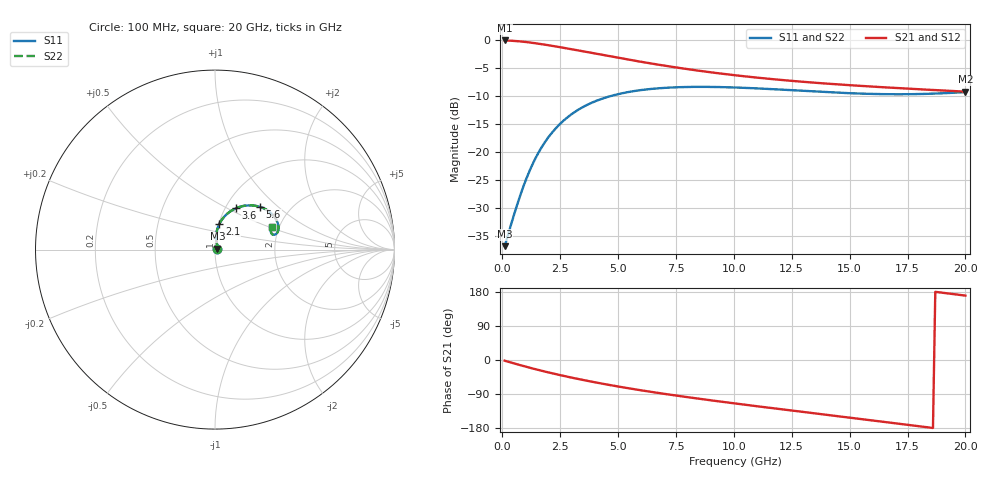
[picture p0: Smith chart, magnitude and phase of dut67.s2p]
! Touchstone file exported from HFSS 2024.1.0
!  File:  C:/UserFiles/LocalFiles/RDL_TSV_Batchsim/temp_RDL_TSV_67_1779410819.aedt
!  Generated:  09:01:20 AM May 22, 2026
!  Design:  RDL_TSV
!  Project:  temp_RDL_TSV_67_1779410819
!  Setup:  Setup1
!  Solution:  Sweep
! Variables:
!  dtsv = 12.66um
!  hbump = 3um
!  htsv = 55.41um
!  ldown = 652.46um
!  lrdl = 234.98um
!  p = 40
!  p1 = 59.5um
!  rhole = 10um
!  subl = 2897.3um
!  t = 450um
!  tdown = 4.91um
!  trdl = 4.82um
!  viad = 10um
!  wdown = 14.52um
!  wrdl = 20.32um
!  xbump = 18um
# GHz S MA R 50.000000
! Terminal data exported
! Port[1] = TM1_1_T1
! Port[2] = TM1_4_T1
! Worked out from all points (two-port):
!   200 points, 100 MHz to 20 GHz, reference 50 ohm
!   highest |S21| = -0.12 dB at 100 MHz (marker M1); lowest = -9.3 dB at 20 GHz (marker M2)
!   |S21| within 3 dB of the highest: start of sweep to 4.889 GHz
!   lowest |S11| = -36.8 dB at 100 MHz (marker M3), VSWR 1.03, Z = 51.4 + j0.517 ohm
!   |S11| at or under -10 dB: start of sweep to 4.719 GHz
!   |S22| runs from -36.8 to -8.4 dB; largest |S21 - S12| = 2e-14
!   S11 on the Smith chart (normalised r, x): 100 MHz: 1.03, +0.01; 2.1 GHz: 1.01, +0.29; 3.6 GHz: 1.12, +0.55; 5.6 GHz: 1.43, +0.77; 20 GHz: 1.84, +0.52
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0.1  0.0144 20.5  0.9861 -1.8  0.9861 -1.8  0.0144 20.5
! Gamma 0 0 0 0
! Port Impedance 50 0 50 0
0.7  0.03675 73.8  0.97 -12.3  0.97 -12.3  0.03675 73.8
0.9  0.04841 80.1  0.961 -15.7  0.961 -15.7  0.04841 80.1
1.1  0.06195 83.4  0.9506 -19.0  0.9506 -19.0  0.06195 83.4
1.3  0.07699 84.8  0.9391 -22.2  0.9391 -22.2  0.077 84.8
1.6  0.1015 84.5  0.9203 -26.9  0.9203 -26.9  0.1015 84.5
2.1  0.1444 80.5  0.8864 -34.3  0.8864 -34.3  0.1444 80.6
2.7  0.1943 73.7  0.8442 -42.6  0.8442 -42.6  0.1944 73.8
3.1  0.2247 68.9  0.816 -47.9  0.816 -47.9  0.2248 68.9
3.5  0.2521 64.2  0.7882 -52.9  0.7882 -52.9  0.2522 64.2
3.6  0.2585 63.0  0.7813 -54.1  0.7813 -54.1  0.2586 63.1
4.5  0.3068 53.3  0.7221 -64.5  0.7221 -64.5  0.307 53.4
5.6  0.3461 43.3  0.6571 -76.1  0.6571 -76.1  0.3464 43.4
6.8  0.3698 34.6  0.5968 -87.6  0.5968 -87.6  0.37 34.6
8.3  0.3799 26.3  0.5361 -100.6  0.5361 -100.6  0.3803 26.3
10.1  0.3749 19.4  0.4811 -115.1  0.4811 -115.1  0.3753 19.4
11.7  0.3623 15.7  0.4447 -127.3  0.4447 -127.3  0.3628 15.7
13.4  0.3465 14.1  0.4152 -140.1  0.4152 -140.1  0.347 14.1
15  0.3337 14.4  0.3934 -152.1  0.3934 -152.1  0.3342 14.4
16.7  0.3268 16.3  0.3745 -164.9  0.3745 -164.9  0.3272 16.3
18.3  0.3291 18.9  0.3591 -177.1  0.3591 -177.1  0.3295 18.8
20  0.3414 21.3  0.3443 169.9  0.3443 169.9  0.3417 21.2
